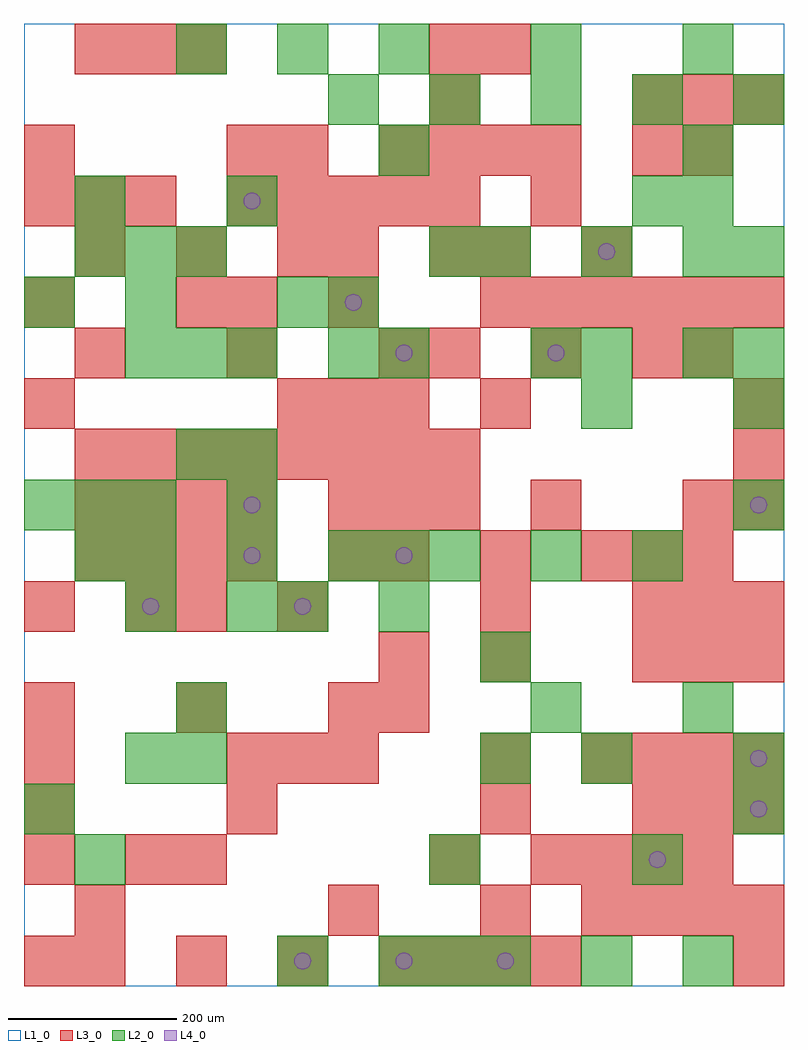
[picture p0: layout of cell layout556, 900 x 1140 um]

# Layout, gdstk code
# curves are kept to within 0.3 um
import gdstk
lib = gdstk.Library(unit=1e-6, precision=1e-09)
def R(c, l, rs):  # rectangles x0, y0, x1, y1
    for r in rs: c.add(gdstk.rectangle(r[:2], r[2:], *l))
def A(c, l, x, y, w, h, nx, ny, dx, dy):  # array of equal rectangles
    R(c, l, [(x+i*dx, y+j*dy, x+i*dx+w, y+j*dy+h) for i in range(nx) for j in range(ny)])
def P(c, l, *ps):  # polygons
    for p in ps: c.add(gdstk.Polygon(p, *l))
L1_0 = (1, 0)
L2_0 = (2, 0)
L3_0 = (3, 0)
L4_0 = (4, 0)

layout556 = lib.new_cell('layout556')
R(layout556, L1_0, [(0,0,900,1140)])
A(layout556, L2_0, 420, 0, 60, 60, 3, 1, 60, 0)
A(layout556, L2_0, 120, 480, 60, 60, 3, 1, 120, 0)
A(layout556, L2_0, 420, 480, 60, 60, 1, 3, 0, 240)
A(layout556, L2_0, 480, 480, 60, 60, 3, 1, 120, 0)
A(layout556, L2_0, 0, 540, 60, 60, 3, 1, 60, 0)
A(layout556, L2_0, 120, 720, 60, 60, 3, 1, 60, 0)
A(layout556, L2_0, 60, 840, 60, 60, 3, 1, 60, 0)
A(layout556, L2_0, 540, 840, 60, 60, 3, 1, 120, 0)
A(layout556, L2_0, 360, 1020, 60, 60, 5, 1, 120, 0)
A(layout556, L2_0, 180, 1080, 60, 60, 3, 1, 120, 0)
R(layout556, L2_0, [(300,0,360,60), (660,0,720,60), (780,0,840,60), (60,120,120,180), (480,120,540,180), (720,120,780,180), (0,180,60,240), (840,180,900,240), (120,240,180,300), (180,240,240,300), (540,240,600,300), (660,240,720,300), (840,240,900,300), (180,300,240,360), (600,300,660,360), (780,300,840,360), (540,360,600,420), (120,420,180,480), (240,420,300,480), (300,420,360,480), (420,420,480,480), (60,480,120,540), (240,540,300,600), (840,540,900,600), (180,600,240,660), (240,600,300,660), (660,660,720,720), (840,660,900,720), (360,720,420,780), (600,720,660,780), (660,720,720,780), (780,720,840,780), (840,720,900,780), (0,780,60,840), (120,780,180,840), (300,780,360,840), (360,780,420,840), (480,840,540,900), (840,840,900,900), (60,900,120,960), (240,900,300,960), (720,900,780,960), (780,900,840,960), (780,960,840,1020), (600,1080,660,1140), (780,1080,840,1140)])
A(layout556, L3_0, 60, 0, 60, 60, 4, 1, 120, 0)
A(layout556, L3_0, 480, 0, 60, 60, 3, 1, 60, 0)
A(layout556, L3_0, 660, 60, 60, 60, 4, 2, 60, 180)
A(layout556, L3_0, 0, 120, 60, 60, 1, 3, 0, 60)
A(layout556, L3_0, 600, 120, 60, 60, 4, 1, 60, 0)
A(layout556, L3_0, 720, 180, 60, 60, 3, 2, 60, 180)
A(layout556, L3_0, 240, 240, 60, 60, 3, 1, 60, 0)
A(layout556, L3_0, 0, 300, 60, 60, 3, 1, 180, 0)
A(layout556, L3_0, 720, 420, 60, 60, 3, 2, 60, 600)
A(layout556, L3_0, 60, 480, 60, 60, 4, 2, 60, 60)
A(layout556, L3_0, 420, 480, 60, 60, 3, 1, 120, 0)
A(layout556, L3_0, 360, 540, 60, 60, 3, 1, 60, 0)
A(layout556, L3_0, 840, 540, 60, 60, 1, 3, 0, 60)
A(layout556, L3_0, 60, 600, 60, 60, 8, 1, 60, 0)
A(layout556, L3_0, 300, 660, 60, 60, 3, 1, 60, 0)
A(layout556, L3_0, 60, 720, 60, 60, 3, 1, 180, 0)
A(layout556, L3_0, 480, 720, 60, 60, 3, 1, 120, 0)
A(layout556, L3_0, 540, 780, 60, 60, 6, 1, 60, 0)
A(layout556, L3_0, 60, 840, 60, 60, 3, 1, 120, 0)
A(layout556, L3_0, 0, 900, 60, 60, 3, 1, 60, 0)
A(layout556, L3_0, 240, 900, 60, 60, 5, 1, 60, 0)
A(layout556, L3_0, 420, 960, 60, 60, 4, 1, 60, 0)
A(layout556, L3_0, 60, 1080, 60, 60, 3, 1, 60, 0)
R(layout556, L3_0, [(0,0,60,60), (840,0,900,60), (60,60,120,120), (360,60,420,120), (540,60,600,120), (120,120,180,180), (180,120,240,180), (480,120,540,180), (240,180,300,240), (540,180,600,240), (540,240,600,300), (420,300,480,360), (420,360,480,420), (540,360,600,420), (0,420,60,480), (120,420,180,480), (180,420,240,480), (300,420,360,480), (540,420,600,480), (360,480,420,540), (720,480,780,540), (780,480,840,540), (600,540,660,600), (780,540,840,600), (0,660,60,720), (540,660,600,720), (780,720,840,780), (0,780,60,840), (180,780,240,840), (240,780,300,840), (360,780,420,840), (360,840,420,900), (480,840,540,900), (540,840,600,900), (660,840,720,900), (600,900,660,960), (0,960,60,1020), (240,960,300,1020), (300,960,360,1020), (720,960,780,1020), (780,960,840,1020), (480,1020,540,1080), (480,1080,540,1140), (540,1080,600,1140)])
P(layout556, L4_0, [(160,450),(159.239,453.827),(157.071,457.071),(153.827,459.239),(150,460),(146.173,459.239),(142.929,457.071),(140.761,453.827),(140,450),(140.761,446.173),(142.929,442.929),(146.173,440.761),(150,440),(153.827,440.761),(157.071,442.929),(159.239,446.173)],
  [(280,510),(279.239,513.827),(277.071,517.071),(273.827,519.239),(270,520),(266.173,519.239),(262.929,517.071),(260.761,513.827),(260,510),(260.761,506.173),(262.929,502.929),(266.173,500.761),(270,500),(273.827,500.761),(277.071,502.929),(279.239,506.173)],
  [(280,570),(279.239,573.827),(277.071,577.071),(273.827,579.239),(270,580),(266.173,579.239),(262.929,577.071),(260.761,573.827),(260,570),(260.761,566.173),(262.929,562.929),(266.173,560.761),(270,560),(273.827,560.761),(277.071,562.929),(279.239,566.173)],
  [(280,930),(279.239,933.827),(277.071,937.071),(273.827,939.239),(270,940),(266.173,939.239),(262.929,937.071),(260.761,933.827),(260,930),(260.761,926.173),(262.929,922.929),(266.173,920.761),(270,920),(273.827,920.761),(277.071,922.929),(279.239,926.173)],
  [(340,30),(339.239,33.827),(337.071,37.071),(333.827,39.239),(330,40),(326.173,39.239),(322.929,37.071),(320.761,33.827),(320,30),(320.761,26.173),(322.929,22.929),(326.173,20.761),(330,20),(333.827,20.761),(337.071,22.929),(339.239,26.173)],
  [(340,450),(339.239,453.827),(337.071,457.071),(333.827,459.239),(330,460),(326.173,459.239),(322.929,457.071),(320.761,453.827),(320,450),(320.761,446.173),(322.929,442.929),(326.173,440.761),(330,440),(333.827,440.761),(337.071,442.929),(339.239,446.173)],
  [(400,810),(399.239,813.827),(397.071,817.071),(393.827,819.239),(390,820),(386.173,819.239),(382.929,817.071),(380.761,813.827),(380,810),(380.761,806.173),(382.929,802.929),(386.173,800.761),(390,800),(393.827,800.761),(397.071,802.929),(399.239,806.173)],
  [(460,30),(459.239,33.827),(457.071,37.071),(453.827,39.239),(450,40),(446.173,39.239),(442.929,37.071),(440.761,33.827),(440,30),(440.761,26.173),(442.929,22.929),(446.173,20.761),(450,20),(453.827,20.761),(457.071,22.929),(459.239,26.173)],
  [(460,510),(459.239,513.827),(457.071,517.071),(453.827,519.239),(450,520),(446.173,519.239),(442.929,517.071),(440.761,513.827),(440,510),(440.761,506.173),(442.929,502.929),(446.173,500.761),(450,500),(453.827,500.761),(457.071,502.929),(459.239,506.173)],
  [(460,750),(459.239,753.827),(457.071,757.071),(453.827,759.239),(450,760),(446.173,759.239),(442.929,757.071),(440.761,753.827),(440,750),(440.761,746.173),(442.929,742.929),(446.173,740.761),(450,740),(453.827,740.761),(457.071,742.929),(459.239,746.173)],
  [(580,30),(579.239,33.827),(577.071,37.071),(573.827,39.239),(570,40),(566.173,39.239),(562.929,37.071),(560.761,33.827),(560,30),(560.761,26.173),(562.929,22.929),(566.173,20.761),(570,20),(573.827,20.761),(577.071,22.929),(579.239,26.173)],
  [(640,750),(639.239,753.827),(637.071,757.071),(633.827,759.239),(630,760),(626.173,759.239),(622.929,757.071),(620.761,753.827),(620,750),(620.761,746.173),(622.929,742.929),(626.173,740.761),(630,740),(633.827,740.761),(637.071,742.929),(639.239,746.173)],
  [(700,870),(699.239,873.827),(697.071,877.071),(693.827,879.239),(690,880),(686.173,879.239),(682.929,877.071),(680.761,873.827),(680,870),(680.761,866.173),(682.929,862.929),(686.173,860.761),(690,860),(693.827,860.761),(697.071,862.929),(699.239,866.173)],
  [(760,150),(759.239,153.827),(757.071,157.071),(753.827,159.239),(750,160),(746.173,159.239),(742.929,157.071),(740.761,153.827),(740,150),(740.761,146.173),(742.929,142.929),(746.173,140.761),(750,140),(753.827,140.761),(757.071,142.929),(759.239,146.173)],
  [(880,210),(879.239,213.827),(877.071,217.071),(873.827,219.239),(870,220),(866.173,219.239),(862.929,217.071),(860.761,213.827),(860,210),(860.761,206.173),(862.929,202.929),(866.173,200.761),(870,200),(873.827,200.761),(877.071,202.929),(879.239,206.173)],
  [(880,270),(879.239,273.827),(877.071,277.071),(873.827,279.239),(870,280),(866.173,279.239),(862.929,277.071),(860.761,273.827),(860,270),(860.761,266.173),(862.929,262.929),(866.173,260.761),(870,260),(873.827,260.761),(877.071,262.929),(879.239,266.173)],
  [(880,570),(879.239,573.827),(877.071,577.071),(873.827,579.239),(870,580),(866.173,579.239),(862.929,577.071),(860.761,573.827),(860,570),(860.761,566.173),(862.929,562.929),(866.173,560.761),(870,560),(873.827,560.761),(877.071,562.929),(879.239,566.173)])

lib.write_gds('layout556.gds')
